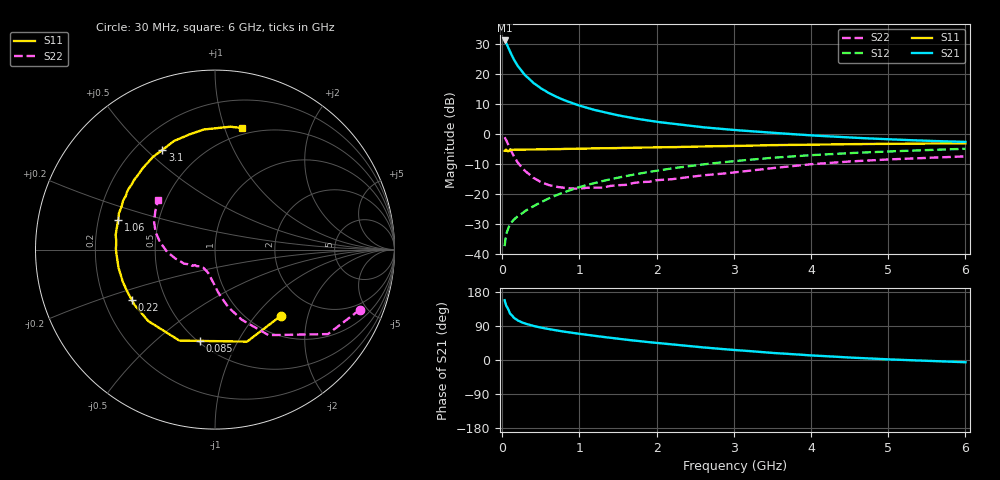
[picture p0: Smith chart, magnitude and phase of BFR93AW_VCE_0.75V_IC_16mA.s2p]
! Infineon Technologies  Discrete & RF Semiconductors
! BFR93AW
! VCE = 0.75 V,  IC =  16 mA
! Common Emitter S-Parameters:  Nov 2015
# GHz  S  MA  R  50
!  f  S11  S21  S12  S22
! GHz  MAG  ANG  MAG  ANG  MAG  ANG  MAG  ANG
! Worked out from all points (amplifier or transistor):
!   206 points, 30 MHz to 6 GHz, reference 50 ohm
!   highest |S21| = 31.1 dB at 30 MHz (marker M1)
!   |S21| within 3 dB of that: start of sweep to 86.91 MHz
!   unconditionally stable (mu >= 1): 524.4 MHz to 2.783 GHz
!   at 200 MHz: K = 0.66, MSG = 25.1 dB, |S12| = -27.6 dB
!   at 1.56 GHz: K = 1.07, MAG = 8.4 dB, |S12| = -14.3 dB
!   at 6 GHz: K = 0.98, MSG = 1.1 dB, |S12| = -5.0 dB
!   S11 on the Smith chart (normalised r, x): 30 MHz: 1.35, -1.37; 85 MHz: 0.51, -0.71; 220 MHz: 0.32, -0.25; 1.06 GHz: 0.28, +0.14; 3.1 GHz: 0.31, +0.56; 6 GHz: 0.44, +1.15
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0.03  0.5201 -45.3  36.05 157.7  0.0133 70.7  0.8743 -22.5
0.05  0.543 -70.8  32.84 143.5  0.0211 64.1  0.7859 -36.8
0.085  0.5158 -99.5  25.85 130.4  0.0279 56.3  0.6189 -50.1
0.1  0.5444 -111.4  23.44 122.6  0.0309 54.0  0.5617 -58.0
0.15  0.5448 -133.1  17.27 111.3  0.0369 51.2  0.4173 -69.2
0.2  0.5439 -145.4  13.56 104.3  0.0419 52.4  0.3317 -76.7
0.22  0.5415 -149.0  12.56 102.6  0.0436 53.0  0.3078 -78.6
0.26  0.5419 -155.7  10.72 98.7  0.0473 54.1  0.2655 -82.7
0.3  0.544 -160.5  9.343 95.6  0.0517 55.4  0.2367 -86.0
0.4  0.5471 -169.3  7.094 89.9  0.0614 58.6  0.1849 -92.8
0.5  0.5486 -175.8  5.73 85.3  0.0718 61.1  0.156 -99.3
0.6  0.5521 179.6  4.803 81.6  0.083 62.8  0.1396 -104.2
0.7  0.5522 175.1  4.148 78.0  0.0941 63.9  0.1304 -109.3
0.8  0.5595 171.5  3.641 74.8  0.1052 63.9  0.1254 -115.8
1.04  0.5632 163.7  2.846 68.0  0.1333 64.1  0.1227 -124.8
1.06  0.5639 163.2  2.795 67.4  0.1354 64.1  0.1237 -125.9
1.5  0.5804 152.0  2.031 56.2  0.185 62.1  0.1386 -138.5
2.02  0.5943 139.6  1.572 44.5  0.2436 57.8  0.1686 -149.3
3.1  0.628 117.8  1.131 25.1  0.3581 46.7  0.2332 -169.4
4.1  0.6595 101.0  0.924 11.1  0.4461 35.2  0.3162 170.3
5.1  0.6795 87.7  0.799 1.0  0.5121 24.3  0.3768 153.8
6  0.6941 77.6  0.731 -5.9  0.5617 15.4  0.4193 139.1
